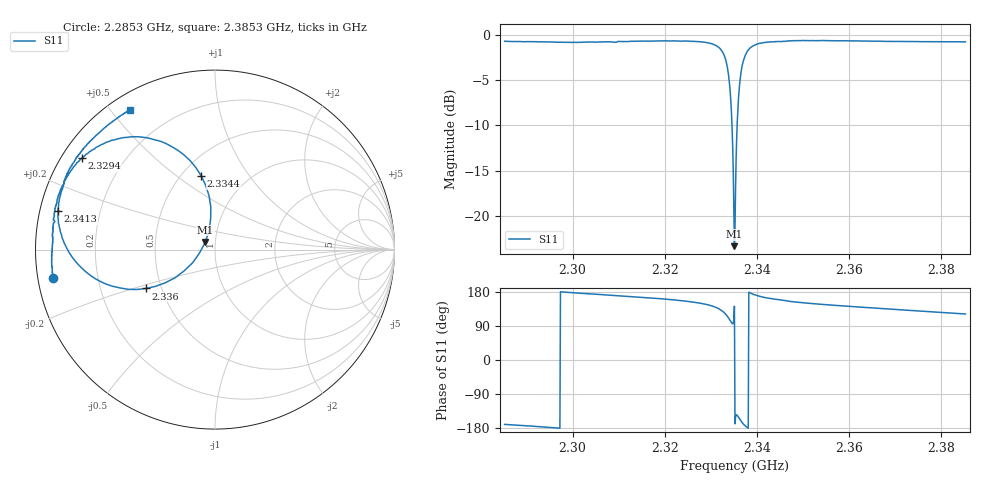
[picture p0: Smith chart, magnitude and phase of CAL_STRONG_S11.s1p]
!Agilent N9918A: A.07.57
!Date: Wednesday, 14 January 2015 15:45:10
!TimeZone: (GMT+08:00) Kuala Lumpur, Singapore!Model: N9918A
!Serial: MY53103598
!GPS Latitude:
!GPS Longitude:
!GPS TimeStamp: 0001-01-01 00:00:00Z
!GPS Seconds Since Last Read: 0
!CHECKSUM:1315646302
!Correction: S11(ON U*)
!S1P File: Measurement: S11:
# Hz S DB R 50
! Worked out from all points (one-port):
!   801 points, 2.2853 GHz to 2.3853 GHz, reference 50 ohm
!   lowest |S11| = -23.3 dB at 2.3351 GHz (marker M1), VSWR 1.15, Z = 44.8 + j3.8 ohm
!   |S11| at or under -10 dB: 2.334594 GHz to 2.335717 GHz (1.123 MHz wide, 0.0481 % of centre)
!   S11 on the Smith chart (normalised r, x): 2.2853 GHz: 0.04, -0.09; 2.3294 GHz: 0.06, +0.31; 2.3344 GHz: 0.62, +0.62; 2.336 GHz: 0.41, -0.22; 2.3413 GHz: 0.05, +0.12; 2.3853 GHz: 0.06, +0.56
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2.28525e9  -0.74 -169.9
2.29775e9  -0.85 179.6
2.31025e9  -0.77 169.3
2.32275e9  -0.71 157.6
2.326875e9  -0.77 151.4
2.329375e9  -0.91 145.6
2.3315e9  -1.34 136.6
2.33225e9  -1.70 131.4
2.333e9  -2.41 124.0
2.3335e9  -3.37 116.9
2.333875e9  -4.56 110.5
2.334375e9  -7.60 100.5
2.33475e9  -12.40 95.6
2.334875e9  -15.16 97.9
2.335125e9  -23.33 141.8
2.33525e9  -21.18 -168.3
2.3355e9  -13.58 -145.4
2.336e9  -7.09 -150.6
2.33625e9  -5.49 -155.4
2.336625e9  -3.94 -162.4
2.337125e9  -2.80 -169.7
2.33775e9  -2.00 -176.7
2.339e9  -1.32 174.4
2.34125e9  -0.90 166.1
2.34775e9  -0.68 153.8
2.36025e9  -0.70 141.4
2.37275e9  -0.77 131.2
2.38525e9  -0.80 121.4
